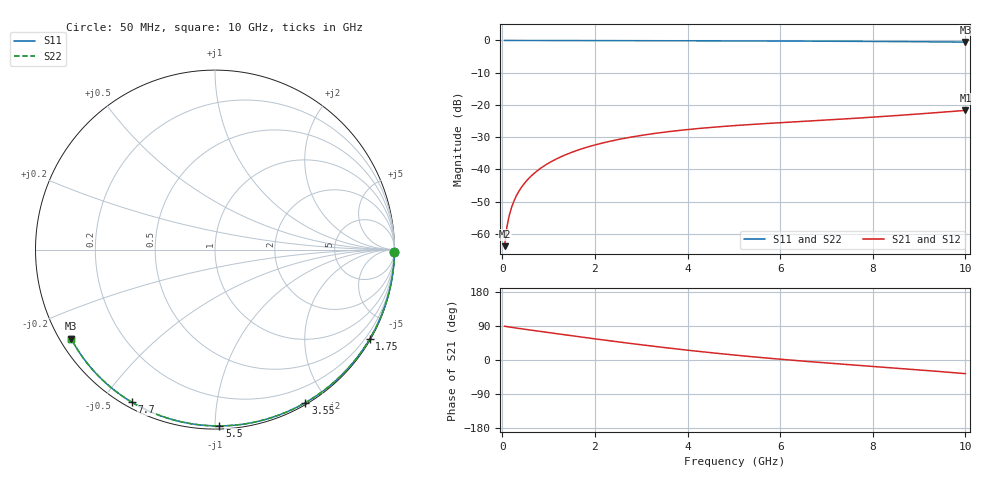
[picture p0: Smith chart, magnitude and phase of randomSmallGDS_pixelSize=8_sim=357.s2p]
! freq	dB(S11)	phase(S11)	dB(S12)	phase(S12)
!  dB(S21)	phase(S21)	dB(S22)	phase(S22)
!S-par simulation data
#  GHz  S  DB  R 50
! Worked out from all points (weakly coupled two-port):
!   200 points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, 50 MHz to 10 GHz, reference 50 ohm
!   highest |S21| = -21.71 dB at 10 GHz (marker M1); lowest = -63.8 dB at 50 MHz (marker M2)
!   lowest |S11| = -0.5 dB at 10 GHz (marker M3), VSWR 34.04, Z = 1.59 - j14.2 ohm
!   |S11| at or under -10 dB: nowhere
!   |S22| runs from -0.5 to 0.0 dB; largest |S21 - S12| = 0
!   S11 on the Smith chart (normalised r, x): 50 MHz: open; 1.75 GHz: 0.03, -3.71; 3.55 GHz: 0.02, -1.75; 5.5 GHz: 0.02, -1.02; 7.7 GHz: 0.02, -0.59; 10 GHz: 0.03, -0.28
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0.05  -0.00 -0.9  -63.85 89.0  -63.85 89.0  -0.00 -0.9
0.1  -0.00 -1.8  -57.84 88.1  -57.84 88.1  -0.00 -1.8
0.15  -0.00 -2.6  -54.32 87.1  -54.32 87.1  -0.00 -2.6
0.2  -0.00 -3.5  -51.84 86.2  -51.84 86.2  -0.00 -3.5
0.25  -0.00 -4.4  -49.91 85.3  -49.91 85.3  -0.00 -4.4
0.35  -0.00 -6.1  -47.02 83.5  -47.02 83.5  -0.00 -6.1
0.5  -0.01 -8.7  -43.96 80.9  -43.96 80.9  -0.01 -8.7
0.7  -0.01 -12.2  -41.09 77.5  -41.09 77.5  -0.01 -12.2
1  -0.02 -17.4  -38.07 72.4  -38.07 72.4  -0.02 -17.4
1.35  -0.03 -23.4  -35.58 66.5  -35.58 66.5  -0.03 -23.4
1.75  -0.04 -30.1  -33.48 59.9  -33.48 59.9  -0.04 -30.1
2.5  -0.06 -42.6  -30.76 47.8  -30.76 47.8  -0.06 -42.6
3.4  -0.08 -57.1  -28.65 34.3  -28.65 34.3  -0.08 -57.1
3.55  -0.08 -59.4  -28.38 32.2  -28.38 32.2  -0.08 -59.4
4.3  -0.11 -71.0  -27.25 21.9  -27.25 21.9  -0.11 -70.9
5.05  -0.13 -82.1  -26.39 12.6  -26.39 12.6  -0.13 -82.1
5.5  -0.15 -88.6  -25.96 7.5  -25.96 7.5  -0.15 -88.5
6.7  -0.21 -105.2  -24.94 -4.9  -24.94 -4.9  -0.21 -105.2
7.7  -0.28 -118.5  -24.08 -14.2  -24.08 -14.2  -0.28 -118.5
8.35  -0.33 -127.0  -23.47 -20.1  -23.47 -20.1  -0.33 -126.9
9.2  -0.42 -137.9  -22.59 -28.1  -22.59 -28.1  -0.42 -137.9
10  -0.51 -148.3  -21.71 -36.0  -21.71 -36.0  -0.51 -148.2
